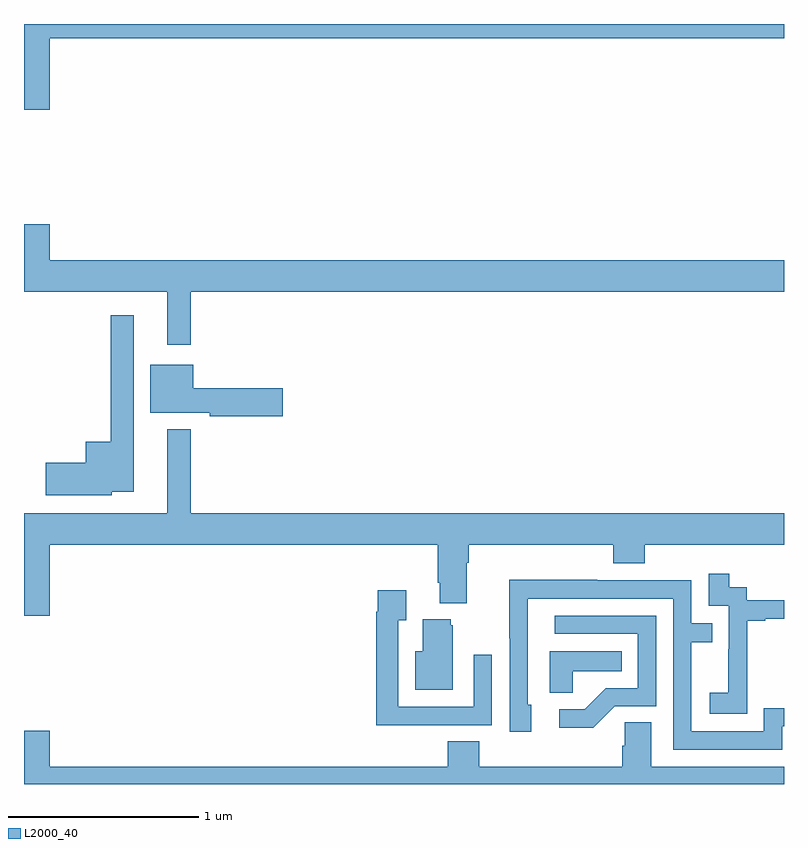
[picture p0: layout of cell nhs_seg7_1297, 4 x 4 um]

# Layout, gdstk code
import gdstk
lib = gdstk.Library(unit=1e-6, precision=1e-09)
def P(c, l, *ps):  # polygons
    for p in ps: c.add(gdstk.Polygon(p, *l))
L2000_40 = (2000, 40)

nhs_seg7_1297 = lib.new_cell('nhs_seg7_1297')
P(nhs_seg7_1297, L2000_40, [(201.136,1025.924),(205,1025.924),(205,1026),(201,1026),(201,1025.55),(201.136,1025.55)],
  [(201.877,1024.592),(205,1024.592),(205,1024.756),(201.136,1024.756),(201.136,1024.945),(201,1024.945),(201,1024.592),(201.755,1024.592),(201.755,1024.311),(201.877,1024.311)],
  [(201.462,1023.539),(201.577,1023.539),(201.577,1024.468),(201.456,1024.468),(201.456,1023.802),(201.326,1023.802),(201.326,1023.692),(201.114,1023.692),(201.114,1023.521),(201.462,1023.521)],
  [(202.363,1024.082),(201.892,1024.082),(201.892,1024.207),(201.665,1024.207),(201.665,1023.953),(201.978,1023.953),(201.978,1023.935),(202.363,1023.935)],
  [(201.136,1023.26),(203.177,1023.26),(203.177,1023.058),(203.189,1023.058),(203.189,1022.951),(203.329,1022.951),(203.329,1023.164),(203.342,1023.164),(203.342,1023.26),(204.101,1023.26),(204.101,1023.161),(204.266,1023.161),(204.266,1023.26),(205,1023.26),(205,1023.424),(201.877,1023.424),(201.877,1023.868),(201.755,1023.868),(201.755,1023.424),(201,1023.424),(201,1022.886),(201.136,1022.886)],
  [(204.807,1022.575),(204.806,1022.575),(204.806,1022.859),(204.901,1022.859),(204.901,1022.871),(205,1022.871),(205,1022.967),(204.804,1022.967),(204.804,1023.036),(204.712,1023.036),(204.712,1023.106),(204.603,1023.106),(204.603,1022.937),(204.708,1022.937),(204.708,1022.708),(204.707,1022.708),(204.707,1022.479),(204.609,1022.479),(204.609,1022.369),(204.807,1022.369)],
  [(204.991,1022.304),(205,1022.304),(205,1022.4),(204.894,1022.4),(204.894,1022.277),(204.513,1022.277),(204.513,1022.746),(204.623,1022.746),(204.623,1022.847),(204.513,1022.847),(204.513,1023.072),(204.017,1023.072),(204.017,1023.074),(203.554,1023.074),(203.554,1022.767),(203.556,1022.767),(203.556,1022.274),(203.671,1022.274),(203.671,1022.418),(203.652,1022.418),(203.652,1022.976),(204.417,1022.976),(204.417,1022.181),(204.991,1022.181)],
  [(203.147,1022.31),(203.463,1022.31),(203.463,1022.68),(203.367,1022.68),(203.367,1022.406),(202.971,1022.406),(202.971,1022.863),(203.011,1022.863),(203.011,1023.019),(202.863,1023.019),(202.863,1022.906),(202.855,1022.906),(202.855,1022.309),(203.147,1022.309)],
  [(204.108,1022.409),(204.327,1022.409),(204.327,1022.886),(203.793,1022.886),(203.793,1022.79),(204.231,1022.79),(204.231,1022.505),(204.062,1022.505),(203.951,1022.394),(203.817,1022.394),(203.817,1022.297),(203.995,1022.297)],
  [(203.257,1022.835),(203.246,1022.835),(203.246,1022.866),(203.099,1022.866),(203.099,1022.698),(203.06,1022.698),(203.06,1022.495),(203.257,1022.495)],
  [(203.889,1022.594),(204.146,1022.594),(204.146,1022.698),(203.768,1022.698),(203.768,1022.479),(203.889,1022.479)],
  [(205,1022.092),(204.301,1022.092),(204.301,1022.324),(204.162,1022.324),(204.162,1022.201),(204.149,1022.201),(204.149,1022.092),(203.396,1022.092),(203.396,1022.225),(203.231,1022.225),(203.231,1022.092),(201.136,1022.092),(201.136,1022.281),(201,1022.281),(201,1022),(205,1022)])

lib.write_gds('nhs_seg7_1297.gds')
